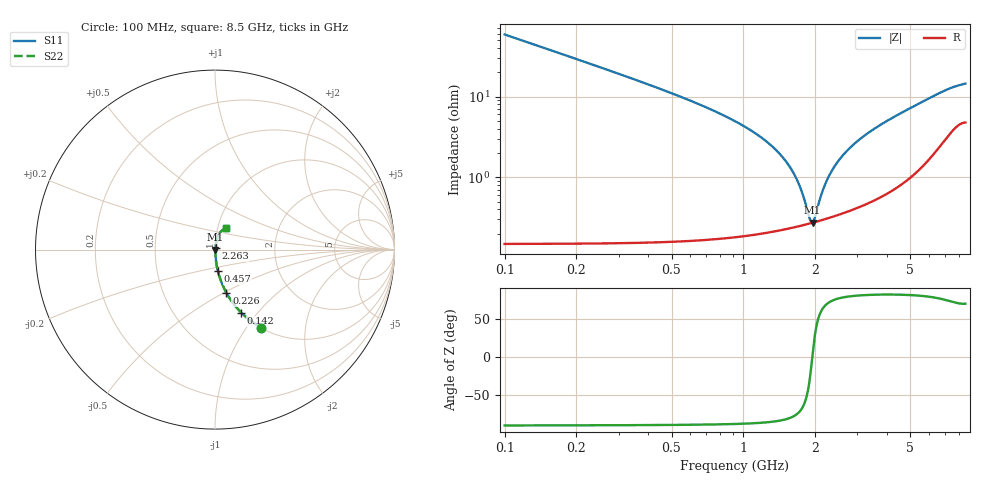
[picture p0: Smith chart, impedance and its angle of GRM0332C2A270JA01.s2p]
!Murata Part Number: GRM0332C2A270JA01
!These Parameters are Measured in Series Mode Connection
!Data Generated on Mar 30, 2021
!  o--ll--o
!Port1  Port2
!  o------o
!Operation Temp=25[degC], DC Bias Voltage=0[V]
!Freq. Start=100[MHz] Stop=9[GHz] 401[Steps]
# Hz S RI R 50
!Freq.(Hz) S11(Real) S11(Imag) S21(Real) S21(Imag) S12(Real) S12(Imag) S22(Real) S22(Imag)
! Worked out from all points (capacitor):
!   401 points, 100 MHz to 8.5 GHz, reference 50 ohm
!   read as one part in series: C = 27 pF near 142 MHz
!   lowest |Z| = 274 mohm at 1.948 GHz (marker M1)
!   series resonance near 1.942 GHz, so ESL is about 250 pH
!   S11 on the Smith chart (normalised r, x): 100 MHz: 1.00, -1.18; 142 MHz: 1.00, -0.83; 226 MHz: 1.00, -0.51; 457 MHz: 1.00, -0.24; 2.263 GHz: 1.01, +0.02; 8.5 GHz: 1.10, +0.27
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1e8  0.2574 -0.4359  0.7426 0.4359  0.7426 0.4359  0.2574 -0.4359
1.42e8  0.1466 -0.3519  0.8534 0.3519  0.8534 0.3519  0.1466 -0.3519
2.26e8  0.0633 -0.2406  0.9367 0.2406  0.9367 0.2406  0.0633 -0.2406
3.31e8  0.0304 -0.1674  0.9696 0.1674  0.9696 0.1674  0.0304 -0.1674
4.57e8  0.0161 -0.1197  0.9839 0.1197  0.9839 0.1197  0.0161 -0.1197
6.88e8  0.00722 -0.0743  0.9928 0.0743  0.9928 0.0743  0.00722 -0.0743
1.276e9  0.00275 -0.0261  0.9973 0.0261  0.9973 0.0261  0.00275 -0.0261
1.507e9  0.00251 -0.0155  0.9975 0.0155  0.9975 0.0155  0.00251 -0.0155
1.675e9  0.00252 -0.00897  0.9975 0.00897  0.9975 0.00897  0.00252 -0.00897
1.759e9  0.00256 -0.00599  0.9974 0.00599  0.9974 0.00599  0.00256 -0.00599
1.885e9  0.00266 -0.00179  0.9973 0.00179  0.9973 0.00179  0.00266 -0.00179
1.948e9  0.00273 0.000197  0.9973 -0.000197  0.9973 -0.000197  0.00273 0.000197
1.99e9  0.00278 0.00149  0.9972 -0.00149  0.9972 -0.00149  0.00278 0.00149
2.137e9  0.00298 0.00582  0.997 -0.00582  0.997 -0.00582  0.00298 0.00582
2.263e9  0.00319 0.00933  0.9968 -0.00933  0.9968 -0.00933  0.00319 0.00933
2.536e9  0.00373 0.0164  0.9963 -0.0164  0.9963 -0.0164  0.00373 0.0164
2.914e9  0.00467 0.0255  0.9953 -0.0255  0.9953 -0.0255  0.00467 0.0255
3.502e9  0.00656 0.0385  0.9934 -0.0385  0.9934 -0.0385  0.00656 0.0385
4.3e9  0.0102 0.0552  0.9898 -0.0552  0.9898 -0.0552  0.0102 0.0552
5.707e9  0.0213 0.0842  0.9787 -0.0842  0.9787 -0.0842  0.0213 0.0842
7.114e9  0.0427 0.1095  0.9573 -0.1095  0.9573 -0.1095  0.0427 0.1095
8.5e9  0.0615 0.1225  0.9385 -0.1225  0.9385 -0.1225  0.0615 0.1225
